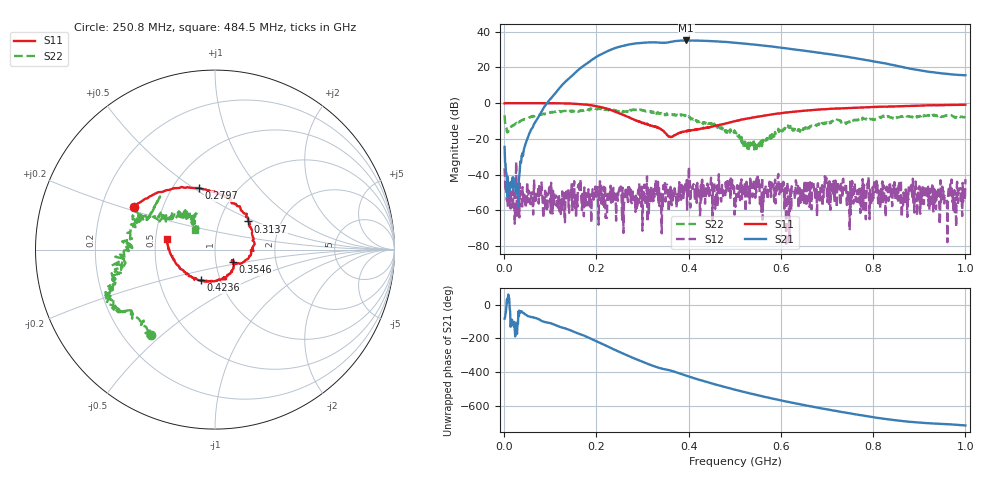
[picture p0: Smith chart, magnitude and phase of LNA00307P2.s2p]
! Created with skrf 1.9.0 (http://scikit-rf.org).
# Hz S RI R 50.0
!freq ReS11 ImS11 ReS21 ImS21 ReS12 ImS12 ReS22 ImS22
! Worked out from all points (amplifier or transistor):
!   1001 points, 1 MHz to 1 GHz, reference 50 ohm
!   highest |S21| = 35.1 dB at 394.6 MHz (marker M1)
!   |S21| within 3 dB of that: 257.6 MHz to 566.1 MHz (308.5 MHz wide, 74.9 % of centre)
!   unconditionally stable (mu >= 1): 209.9 MHz to 309.6 MHz; 309.7 MHz to 400.2 MHz; 401 MHz to end of sweep (the widest 3 of 28)
!   at 166.8 MHz: K = 2.14, MAG = 29.8 dB, |S12| = -51.8 dB
!   at 500.5 MHz: K = 3.77, MAG = 34.4 dB, |S12| = -52.3 dB
!   at 1 GHz: K = 2.12, MAG = 23.1 dB, |S12| = -42.6 dB
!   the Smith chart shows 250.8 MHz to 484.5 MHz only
!   S11 on the Smith chart (normalised r, x): 250.8 MHz: 0.34, +0.22; 279.7 MHz: 0.67, +0.52; 313.7 MHz: 1.37, +0.46; 354.6 MHz: 1.21, -0.17; 423.6 MHz: 0.81, -0.29; 484.5 MHz: 0.57, +0.07
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1000000  0.9834 0.00377  0.00712 -0.0589  -0.00711 -0.0133  0.3427 0.3045
1.08892e8  0.5081 -0.8528  -0.8424 -1.556  0.00106 -0.00255  0.4299 -0.3678
1.67833e8  -0.251 -0.893  -10.07 -0.4431  0.000136 0.00156  0.0446 -0.6188
2.12788e8  -0.6854 -0.3161  -14.95 19.05  0.000315 -0.00244  -0.2132 -0.6396
2.3077e8  -0.6429 -0.0174  -7.657 30.05  -0.00159 -0.00461  -0.2704 -0.6057
2.5075e8  -0.4516 0.2392  6.98 37.29  -0.00172 -0.00418  -0.3574 -0.4765
2.79721e8  -0.0902 0.3426  32.43 32.13  0.00039 0.00187  -0.5895 -0.3058
3.13687e8  0.1854 0.1569  49.51 6.115  -0.000524 0.000533  -0.5643 -0.1715
3.34666e8  0.2017 -0.0182  48.49 -10.79  -0.00134 0.000718  -0.5282 -0.0349
3.54646e8  0.1002 -0.0707  45.01 -21.26  -0.00135 0.00287  -0.4623 0.0624
3.71629e8  0.1034 -0.0754  42.56 -34.26  -0.000848 -0.00232  -0.4147 0.1625
3.94606e8  0.061 -0.1517  28.41 -49.13  -0.00124 0.00362  -0.4097 0.1755
4.23577e8  -0.0794 -0.1712  5.151 -55.83  0.00343 0.00185  -0.2453 0.169
4.5055e8  -0.1963 -0.1011  -15.05 -52.62  0.00392 0.00432  -0.1822 0.1999
4.84516e8  -0.2701 0.0575  -33.57 -38.56  0.00321 -0.0011  -0.1134 0.1116
5.005e8  -0.2736 0.1437  -39.21 -29.82  -0.00236 -0.000564  -0.0906 0.1346
5.4046e8  -0.1887 0.3497  -42.91 -8.035  0.00428 -0.00112  -0.0598 0.0404
5.88412e8  0.0236 0.4974  -35.12 12.36  -0.000439 -0.00148  -0.121 -0.0655
6.67333e8  0.406 0.4941  -12.53 24.2  0.00185 -0.00544  -0.225 -0.0486
7.53247e8  0.6815 0.2731  4.76 18.2  0.00227 6.69e-06  -0.2908 0.0378
8.34166e8  0.8015 0.00978  9.199 8.193  0.00216 -0.00136  -0.3977 0.0974
1e9  0.7224 -0.5366  5.999 0.6301  -0.00582 -0.00462  -0.1487 0.3673
